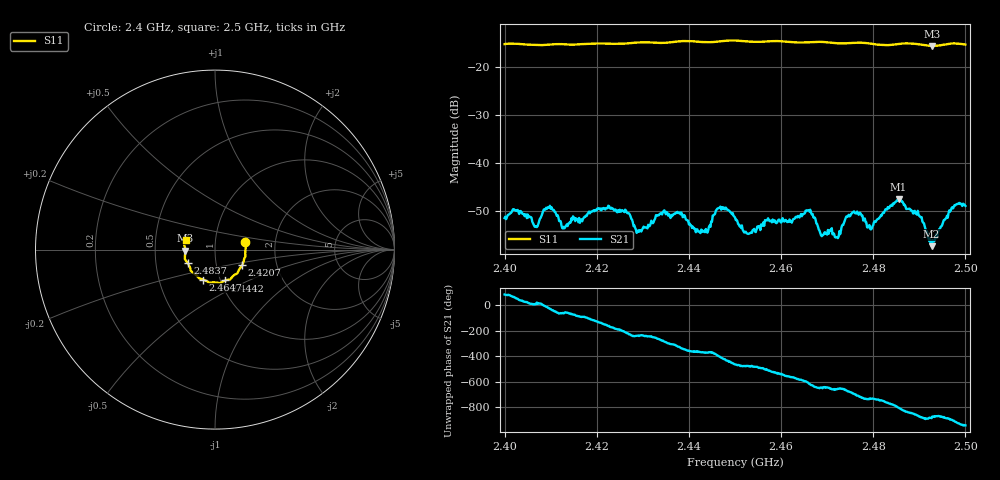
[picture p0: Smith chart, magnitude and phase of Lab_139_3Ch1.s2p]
# Hz S RI R 50
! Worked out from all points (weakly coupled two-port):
!   601 points, 2.4 GHz to 2.5 GHz, reference 50 ohm
!   highest |S21| = -47.50 dB at 2.4855 GHz (marker M1); lowest = -57.3 dB at 2.4927 GHz (marker M2)
!   lowest |S11| = -15.6 dB at 2.4928 GHz (marker M3), VSWR 1.40, Z = 35.8 - j0.397 ohm
!   |S11| at or under -10 dB: start of sweep to end of sweep
!   S12 and S22 are empty: the file has one direction only
!   S11 on the Smith chart (normalised r, x): 2.4 GHz: 1.40, +0.12; 2.4207 GHz: 1.33, -0.24; 2.4442 GHz: 1.05, -0.37; 2.4647 GHz: 0.83, -0.29; 2.4837 GHz: 0.73, -0.11; 2.5 GHz: 0.72, +0.08
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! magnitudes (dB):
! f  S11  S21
! 2.4 GHz  -15.2  -51.5
! 2.4167 GHz  -15.2  -51.7
! 2.4207 GHz  -15.1  -49.7
! 2.4267 GHz  -15.1  -50.5
! 2.4292 GHz  -14.9  -54.3
! 2.4333 GHz  -15.0  -50.9
! 2.4442 GHz  -14.9  -54.1
! 2.4463 GHz  -14.7  -49.4
! 2.45 GHz  -14.5  -51.3
! 2.453 GHz  -14.7  -54.7
! 2.4647 GHz  -14.9  -50.7
! 2.4667 GHz  -14.8  -50.7
! 2.472 GHz  -15.0  -55.4
! 2.4755 GHz  -15.0  -50.3
! 2.4792 GHz  -15.1  -52.9
! 2.4833 GHz  -15.4  -49.4
! 2.4837 GHz  -15.4  -48.9
! 2.4855 GHz  -15.2  -47.5
! 2.4927 GHz  -15.6  -57.3
! 2.4928 GHz  -15.6  -56.1
! 2.497 GHz  -15.1  -49.4
! 2.5 GHz  -15.3  -48.9
